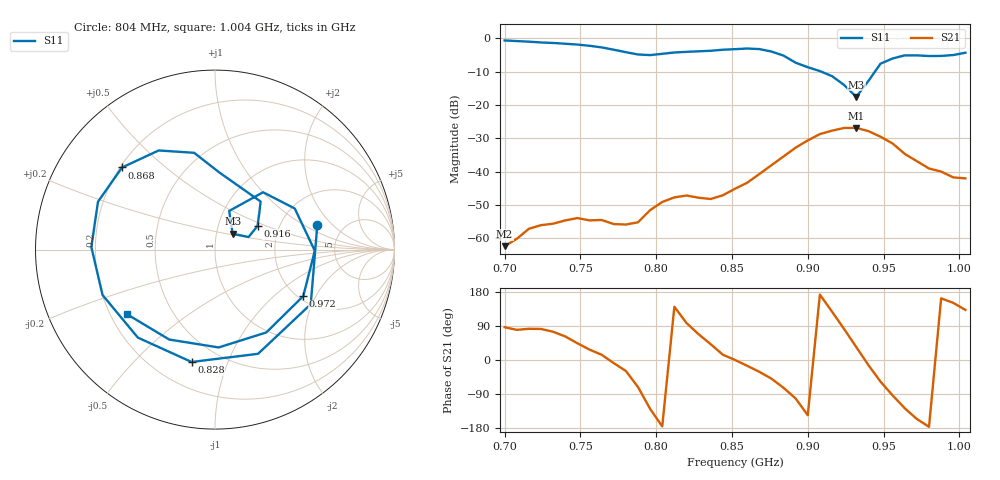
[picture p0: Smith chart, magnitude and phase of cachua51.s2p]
# Hz S RI R 50
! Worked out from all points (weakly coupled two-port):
!   39 points, 700 MHz to 1.004 GHz, reference 50 ohm
!   highest |S21| = -26.88 dB at 932 MHz (marker M1); lowest = -62.4 dB at 700 MHz (marker M2)
!   lowest |S11| = -17.6 dB at 932 MHz (marker M3), VSWR 1.31, Z = 59.9 + j10.8 ohm
!   |S11| at or under -10 dB: 909 MHz to 944.3 MHz (35.31 MHz wide, 3.81 % of centre)
!   S12 and S22 are empty: the file has one direction only
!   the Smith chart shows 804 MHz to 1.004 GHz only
!   S11 on the Smith chart (normalised r, x): 804 MHz: 3.21, +1.37; 828 MHz: 0.35, -0.75; 868 MHz: 0.21, +0.36; 916 MHz: 1.55, +0.44; 972 MHz: 2.12, -1.59; 1.004 GHz: 0.27, -0.31
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7e8  0.7666 0.5282  4.57e-05 0.000758  0 0  0 0
7.24e8  0.8276 -0.2638  0.000221 0.00155  0 0  0 0
7.4e8  0.4427 -0.7031  0.000863 0.00164  0 0  0 0
7.56e8  -0.1985 -0.7481  0.00165 0.000854  0 0  0 0
7.72e8  -0.6505 -0.1845  0.00161 -0.000233  0 0  0 0
7.8e8  -0.5754 0.2323  0.0014 -0.000778  0 0  0 0
7.88e8  -0.2194 0.5297  0.000554 -0.00164  0 0  0 0
7.96e8  0.2634 0.4955  -0.00166 -0.00205  0 0  0 0
8.04e8  0.5701 0.1395  -0.00349 -0.000291  0 0  0 0
8.2e8  0.24 -0.5805  -0.000576 0.00433  0 0  0 0
8.28e8  -0.1303 -0.6262  0.00153 0.00376  0 0  0 0
8.52e8  -0.6889 0.0139  0.00553 1.65e-05  0 0  0 0
8.68e8  -0.5177 0.4575  0.00786 -0.00473  0 0  0 0
8.84e8  -0.116 0.5393  0.00486 -0.0161  0 0  0 0
9.08e8  0.2472 0.208  -0.0363 0.00475  0 0  0 0
9.16e8  0.2371 0.1319  -0.0251 0.0326  0 0  0 0
9.32e8  0.0984 0.0885  0.0375 0.0254  0 0  0 0
9.48e8  0.2679 0.3195  0.0182 -0.028  0 0  0 0
9.56e8  0.4443 0.2291  -0.00164 -0.0264  0 0  0 0
9.72e8  0.4919 -0.259  -0.0131 -0.00588  0 0  0 0
9.88e8  0.0205 -0.5452  -0.00956 0.00299  0 0  0 0
1.004e9  -0.4918 -0.3591  -0.00531 0.00587  0 0  0 0
